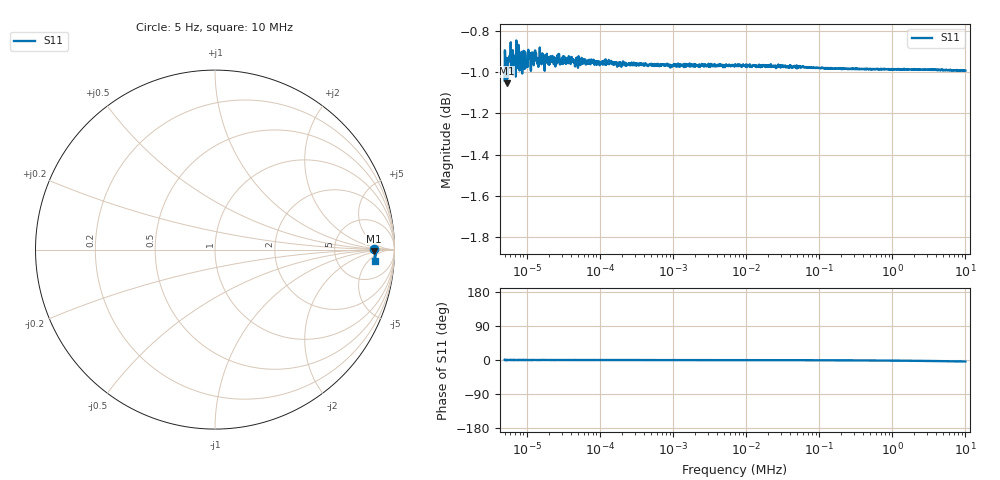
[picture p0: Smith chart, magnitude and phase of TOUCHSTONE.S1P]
!Keysight Technologies,E5061B,MY49912438,B.06.04
!Date: Thu Nov 06 14:32:48 2025
!Data & Calibration Information:
!Freq	S11:SOLT2(ON)
# Hz S RI R 50
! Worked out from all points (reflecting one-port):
!   1601 points, 5 Hz to 10 MHz, reference 50 ohm
!   lowest |S11| = -1.1 dB at 5.32 Hz (marker M1), VSWR 16.51, Z = 821 - j60.2 ohm
!   phase of S11 starts at 0 deg and turns -4 deg over the sweep
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5  0.8872 0.00564
5.32  0.8858 -0.0079
5.48  0.8956 -0.00246
5.8  0.8991 0.0045
6.067  0.9064 0.00202
6.654  0.8921 0.000773
7.74  0.8968 -0.000411
9.62  0.9004 -0.00359
11.347  0.9009 -0.00201
12.668  0.8992 0.000509
14.875  0.8983 -3.71e-05
17.117  0.8981 0.00201
18.895  0.9006 -0.001
26.184  0.8984 0.00105
30.719  0.8954 0.00108
38.548  0.8965 -0.00254
46.647  0.8975 -0.000577
58.531  0.8973 -0.000699
188.089  0.8963 -0.000905
1158.503  0.8948 -0.00225
7090.877  0.8947 -0.00377
43602.92  0.8939 -0.00745
129094  0.8934 -0.0116
266108.6  0.8928 -0.0153
695575.8  0.8925 -0.0224
1633435  0.8923 -0.0309
4395730  0.8913 -0.0446
1e7  0.89 -0.0611
